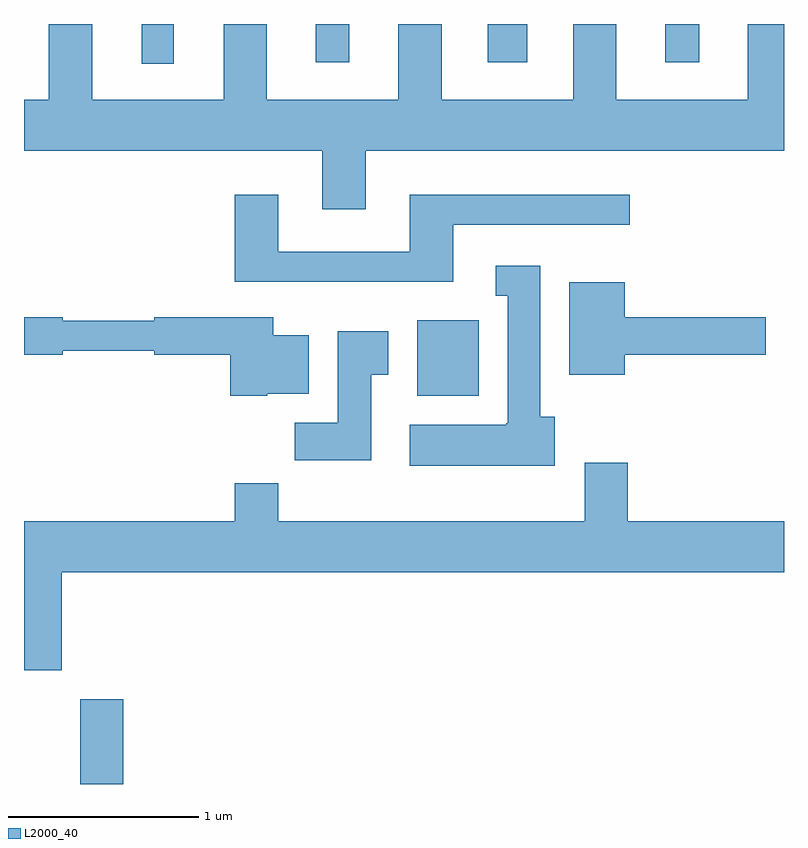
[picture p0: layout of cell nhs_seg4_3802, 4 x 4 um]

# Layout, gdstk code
import gdstk
lib = gdstk.Library(unit=1e-6, precision=1e-09)
def R(c, l, rs):  # rectangles x0, y0, x1, y1
    for r in rs: c.add(gdstk.rectangle(r[:2], r[2:], *l))
def P(c, l, *ps):  # polygons
    for p in ps: c.add(gdstk.Polygon(p, *l))
L2000_40 = (2000, 40)

nhs_seg4_3802 = lib.new_cell('nhs_seg4_3802')
R(nhs_seg4_3802, L2000_40, [(295.906,1377.982,296.134,1378.429), (297.681,1380.026,298.004,1380.424), (296.231,1381.773,296.399,1381.982), (297.146,1381.781,297.324,1381.982), (298.051,1381.781,298.259,1381.982), (298.986,1381.781,299.164,1381.982)])
P(nhs_seg4_3802, L2000_40, [(297.409,1381.316),(299.611,1381.316),(299.611,1381.982),(299.421,1381.982),(299.421,1381.584),(298.729,1381.584),(298.729,1381.982),(298.501,1381.982),(298.501,1381.584),(297.809,1381.584),(297.809,1381.982),(297.581,1381.982),(297.581,1381.584),(296.889,1381.584),(296.889,1381.982),(296.661,1381.982),(296.661,1381.584),(295.969,1381.584),(295.969,1381.982),(295.741,1381.982),(295.741,1381.584),(295.611,1381.584),(295.611,1381.316),(297.181,1381.316),(297.181,1381.006),(297.409,1381.006)],
  [(297.869,1380.926),(298.798,1380.926),(298.798,1381.084),(297.641,1381.084),(297.641,1380.784),(296.949,1380.784),(296.949,1381.084),(296.721,1381.084),(296.721,1380.626),(297.869,1380.626)],
  [(298.404,1379.914),(298.329,1379.914),(298.329,1380.709),(298.093,1380.709),(298.093,1380.551),(298.156,1380.551),(298.156,1379.88),(298.15,1379.88),(298.15,1379.874),(297.641,1379.874),(297.641,1379.656),(298.404,1379.656)],
  [(298.774,1380.241),(299.514,1380.241),(299.514,1380.439),(298.774,1380.439),(298.774,1380.624),(298.481,1380.624),(298.481,1380.136),(298.774,1380.136)],
  [(296.89,1380.036),(297.109,1380.036),(297.109,1380.344),(296.924,1380.344),(296.924,1380.439),(296.296,1380.439),(296.296,1380.419),(295.814,1380.419),(295.814,1380.439),(295.611,1380.439),(295.611,1380.241),(295.814,1380.241),(295.814,1380.261),(296.296,1380.261),(296.296,1380.241),(296.696,1380.241),(296.696,1380.026),(296.89,1380.026)],
  [(297.439,1380.136),(297.529,1380.136),(297.529,1380.364),(297.261,1380.364),(297.261,1379.884),(297.036,1379.884),(297.036,1379.686),(297.439,1379.686)],
  [(299.611,1379.364),(298.789,1379.364),(298.789,1379.674),(298.561,1379.674),(298.561,1379.364),(296.949,1379.364),(296.949,1379.564),(296.721,1379.564),(296.721,1379.364),(295.611,1379.364),(295.611,1378.581),(295.809,1378.581),(295.809,1379.096),(299.611,1379.096)])

lib.write_gds('nhs_seg4_3802.gds')
